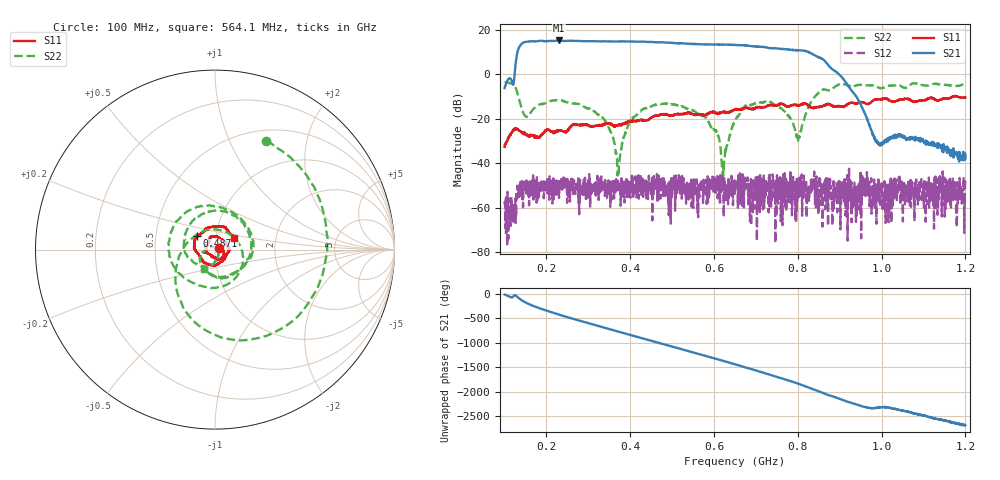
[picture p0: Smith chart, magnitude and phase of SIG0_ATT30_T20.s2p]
# Hz S DB R 50
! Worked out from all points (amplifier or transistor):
!   1601 points, 100 MHz to 1.2 GHz, reference 50 ohm
!   highest |S21| = 15.2 dB at 229.2 MHz (marker M1)
!   |S21| within 3 dB of that: 134.7 MHz to 720.5 MHz (585.8 MHz wide, 137 % of centre) (the widest 1 of 2)
!   unconditionally stable (mu >= 1): start of sweep to end of sweep
!   at 282.9 MHz: K = 26.04, MAG = 15.2 dB, |S12| = -49.7 dB
!   at 650 MHz: K = 33.23, MAG = 13.4 dB, |S12| = -50.0 dB
!   at 1.2 GHz: K = 4987.56, MAG = -33.4 dB, |S12| = -49.2 dB
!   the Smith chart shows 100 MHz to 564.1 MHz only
!   S11 on the Smith chart (normalised r, x): 100 MHz: 1.04, +0.02; 487.1 MHz: 0.81, +0.12; 564.1 MHz: 1.23, +0.17
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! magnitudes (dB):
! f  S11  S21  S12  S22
! 100 MHz  -32.6  -6.2  -58.2  -3.5
! 122 MHz  -25.2  -3.7  -61.1  -4.8
! 141.9 MHz  -26.2  13.9  -48.3  -16.0
! 229.2 MHz  -25.5  15.2  -48.3  -11.6
! 283.6 MHz  -22.6  15.0  -51.8  -13.7
! 341.3 MHz  -22.2  14.8  -49.4  -21.2
! 370.9 MHz  -23.0  14.8  -52.2  -45.7
! 401.8 MHz  -21.0  14.8  -51.9  -20.6
! 467.1 MHz  -18.5  14.4  -56.4  -13.6
! 487.1 MHz  -18.1  14.2  -50.6  -13.3
! 564.1 MHz  -18.0  13.5  -51.0  -18.1
! 606.7 MHz  -17.6  13.4  -50.2  -26.3
! 621.8 MHz  -16.9  13.4  -52.4  -47.4
! 650 MHz  -15.8  13.2  -50.0  -20.6
! 731.1 MHz  -14.0  11.8  -46.2  -12.1
! 800.6 MHz  -13.9  10.9  -50.1  -29.8
! 833.6 MHz  -15.0  9.3  -52.2  -11.8
! 884.4 MHz  -14.5  2.0  -54.2  -6.2
! 912.6 MHz  -14.3  -3.0  -47.2  -4.5
! 989.6 MHz  -11.1  -30.8  -54.0  -5.7
! 1.017 GHz  -11.6  -29.0  -53.8  -5.1
! 1.2 GHz  -10.4  -36.1  -49.2  -3.9
